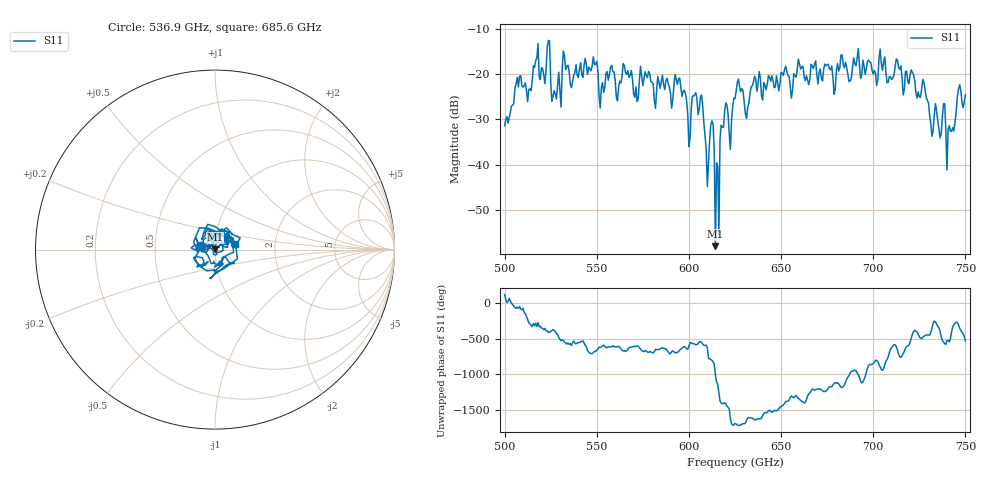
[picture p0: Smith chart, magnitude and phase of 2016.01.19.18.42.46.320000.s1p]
!Created with skrf (http://scikit-rf.org).
# GHz S RI R 50.0
!freq ReS11 ImS11
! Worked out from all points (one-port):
!   401 points, 500 GHz to 750 GHz, reference 50 ohm
!   lowest |S11| = -58.0 dB at 614.4 GHz (marker M1), VSWR 1.00, Z = 50 + j0.12 ohm
!   |S11| at or under -10 dB: start of sweep to end of sweep
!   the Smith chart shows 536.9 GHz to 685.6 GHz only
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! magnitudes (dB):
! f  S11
! 500 GHz  -31.4
! 507.5 GHz  -22.8
! 513.8 GHz  -23.3
! 516.9 GHz  -17.0
! 523.8 GHz  -12.6
! 526.9 GHz  -23.7
! 531.2 GHz  -18.9
! 548.8 GHz  -17.9
! 552.5 GHz  -23.0
! 562.5 GHz  -21.6
! 593.8 GHz  -22.3
! 600 GHz  -36.0
! 603.1 GHz  -24.6
! 606.9 GHz  -24.6
! 609.4 GHz  -36.7
! 612.5 GHz  -30.3
! 614.4 GHz  -58.0
! 615.6 GHz  -40.3
! 618.8 GHz  -31.8
! 622.5 GHz  -36.6
! 625 GHz  -25.4
! 656.2 GHz  -23.4
! 660.6 GHz  -18.9
! 687.5 GHz  -21.5
! 718.8 GHz  -21.6
! 740.6 GHz  -32.1
! 746.2 GHz  -23.4
! 750 GHz  -24.6
